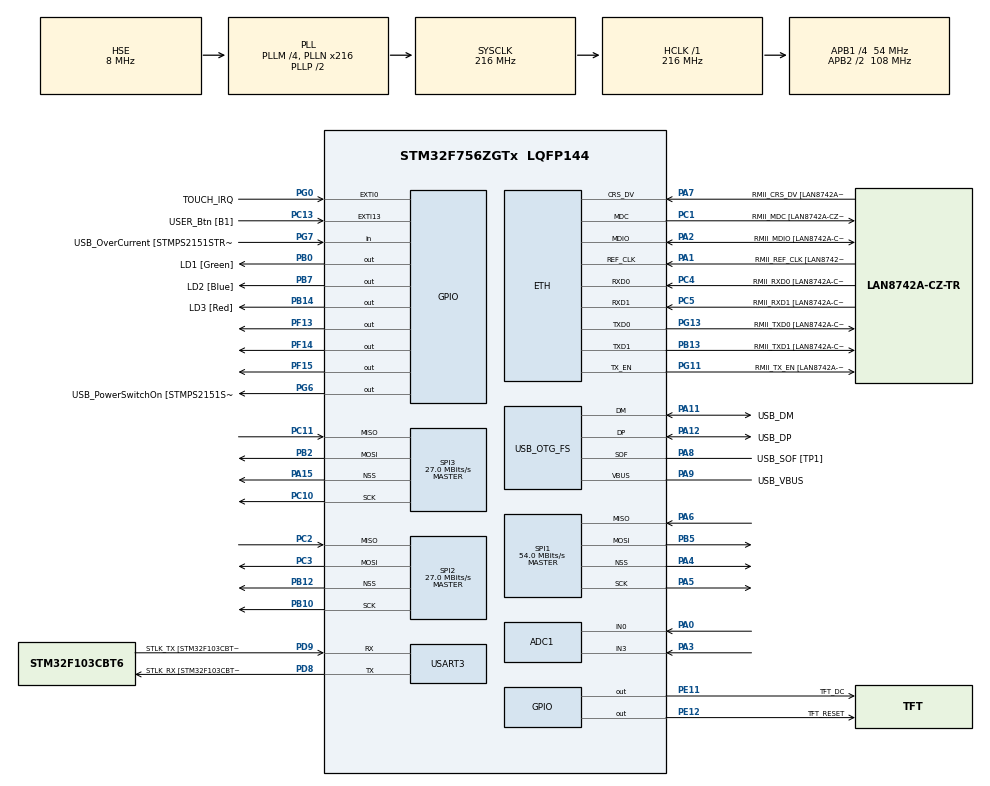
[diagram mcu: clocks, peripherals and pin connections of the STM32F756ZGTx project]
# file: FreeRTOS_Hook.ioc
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ADC1.Channel-0\#ChannelRegularConversion=ADC_CHANNEL_3
ADC1.NbrOfConversionFlag=1
ADC1.Rank-0\#ChannelRegularConversion=1
ADC1.SamplingTime-0\#ChannelRegularConversion=ADC_SAMPLETIME_3CYCLES
ADC1.master=1
ETH.MediaInterface=ETH_MEDIA_INTERFACE_RMII
ETH.PhyAddress=0
FREERTOS.Mutexes01=MutexPrint,Dynamic,NULL;MutexIdle,Dynamic,NULL
FREERTOS.Tasks01=Led1Task,24,256,StartLed1Task,Default,NULL,Dynamic,NULL,NULL;Led2Task,24,256,StartLed2Task,Default,NULL,Dynamic,NULL,NULL;Led3Task,24,256,StartLed3Task,Default,NULL,Dynamic,NULL,NULL
FREERTOS.Timers01=TimerIdleTime,TimerIdleTimeCallback,osTimerPeriodic,Default,NULL,Dynamic,NULL
FREERTOS.configMINIMAL_STACK_SIZE=256
FREERTOS.configUSE_IDLE_HOOK=1
FREERTOS.configUSE_NEWLIB_REENTRANT=1
LWIP.Version=v2.1.2_Cube
Mcu.Family=STM32F7
Mcu.Name=STM32F756ZGTx
Mcu.Package=LQFP144
NVIC.ETH_IRQn=true\:5\:0\:false\:false\:true\:true\:false\:true
NVIC.EXTI15_10_IRQn=true\:5\:0\:false\:false\:true\:true\:true\:true
NVIC.PriorityGroup=NVIC_PRIORITYGROUP_4
NVIC.TIM1_UP_TIM10_IRQn=true\:15\:0\:false\:false\:true\:false\:false\:true
NVIC.TimeBase=TIM1_UP_TIM10_IRQn
NVIC.TimeBaseIP=TIM10
PA0/WKUP.Signal=ADCx_IN0
PA1.GPIO_Label=RMII_REF_CLK [LAN8742A-CZ-TR_REFCLK0]
PA1.Mode=RMII
PA1.Signal=ETH_REF_CLK
PA10.GPIO_Label=USB_ID
PA10.Signal=USB_OTG_FS_ID
PA11.GPIO_Label=USB_DM
PA11.Mode=Device_Only
PA11.Signal=USB_OTG_FS_DM
PA12.GPIO_Label=USB_DP
PA12.Mode=Device_Only
PA12.Signal=USB_OTG_FS_DP
PA13.GPIO_Label=TMS
PA13.Mode=Serial_Wire
PA13.Signal=SYS_JTMS-SWDIO
PA14.GPIO_Label=TCK
PA14.Mode=Serial_Wire
PA14.Signal=SYS_JTCK-SWCLK
PA15.Mode=NSS_Signal_Hard_Output
PA15.Signal=SPI3_NSS
PA2.GPIO_Label=RMII_MDIO [LAN8742A-CZ-TR_MDIO]
PA2.Mode=RMII
PA2.Signal=ETH_MDIO
PA3.Signal=ADCx_IN3
PA4.Mode=NSS_Signal_Hard_Output
PA4.Signal=SPI1_NSS
PA5.Mode=Full_Duplex_Master
PA5.Signal=SPI1_SCK
PA6.Mode=Full_Duplex_Master
PA6.Signal=SPI1_MISO
PA7.GPIO_Label=RMII_CRS_DV [LAN8742A-CZ-TR_CRS_DV]
PA7.Mode=RMII
PA7.Signal=ETH_CRS_DV
PA8.GPIO_Label=USB_SOF [TP1]
PA8.Mode=Activate_SOF_FS
PA8.Signal=USB_OTG_FS_SOF
PA9.GPIO_Label=USB_VBUS
PA9.Mode=Activate_VBUS
PA9.Signal=USB_OTG_FS_VBUS
PB0.GPIO_Label=LD1 [Green]
PB0.Signal=GPIO_Output
PB10.Mode=Full_Duplex_Master
PB10.Signal=SPI2_SCK
PB12.Mode=NSS_Signal_Hard_Output
PB12.Signal=SPI2_NSS
PB13.GPIO_Label=RMII_TXD1 [LAN8742A-CZ-TR_TXD1]
PB13.Mode=RMII
PB13.Signal=ETH_TXD1
PB14.GPIO_Label=LD3 [Red]
PB14.Signal=GPIO_Output
PB2.Mode=Full_Duplex_Master
PB2.Signal=SPI3_MOSI
PB3.GPIO_Label=SWO
PB3.Signal=SYS_JTDO-SWO
PB5.Mode=Full_Duplex_Master
PB5.Signal=SPI1_MOSI
PB7.GPIO_Label=LD2 [Blue]
PB7.Signal=GPIO_Output
PC1.GPIO_Label=RMII_MDC [LAN8742A-CZ-TR_MDC]
PC1.Mode=RMII
PC1.Signal=ETH_MDC
PC10.Mode=Full_Duplex_Master
PC10.Signal=SPI3_SCK
PC11.Mode=Full_Duplex_Master
PC11.Signal=SPI3_MISO
PC13.GPIO_Label=USER_Btn [B1]
PC13.Signal=GPXTI13
PC14/OSC32_IN.Mode=LSE-External-Oscillator
PC14/OSC32_IN.Signal=RCC_OSC32_IN
PC15/OSC32_OUT.Mode=LSE-External-Oscillator
PC15/OSC32_OUT.Signal=RCC_OSC32_OUT
PC2.Mode=Full_Duplex_Master
PC2.Signal=SPI2_MISO
PC3.Mode=Full_Duplex_Master
PC3.Signal=SPI2_MOSI
PC4.GPIO_Label=RMII_RXD0 [LAN8742A-CZ-TR_RXD0]
PC4.Mode=RMII
PC4.Signal=ETH_RXD0
PC5.GPIO_Label=RMII_RXD1 [LAN8742A-CZ-TR_RXD1]
PC5.Mode=RMII
PC5.Signal=ETH_RXD1
PD8.GPIO_Label=STLK_RX [STM32F103CBT6_PA3]
PD8.Mode=Asynchronous
PD8.Signal=USART3_TX
PD9.GPIO_Label=STLK_TX [STM32F103CBT6_PA2]
PD9.Mode=Asynchronous
PD9.Signal=USART3_RX
PE11.GPIO_Label=TFT_DC
PE11.Signal=GPIO_Output
PE12.GPIO_Label=TFT_RESET
PE12.Signal=GPIO_Output
PF13.Signal=GPIO_Output
PF14.Signal=GPIO_Output
PF15.Signal=GPIO_Output
PG0.GPIO_Label=TOUCH_IRQ
PG0.Signal=GPXTI0
PG11.GPIO_Label=RMII_TX_EN [LAN8742A-CZ-TR_TXEN]
PG11.Mode=RMII
PG11.Signal=ETH_TX_EN
PG13.GPIO_Label=RMII_TXD0 [LAN8742A-CZ-TR_TXD0]
PG13.Mode=RMII
PG13.Signal=ETH_TXD0
PG6.GPIO_Label=USB_PowerSwitchOn [STMPS2151STR_EN]
PG6.Signal=GPIO_Output
PG7.GPIO_Label=USB_OverCurrent [STMPS2151STR_FAULT]
PG7.Signal=GPIO_Input
PH0/OSC_IN.GPIO_Label=MCO [STM32F103CBT6_PA8]
PH0/OSC_IN.Mode=HSE-External-Clock-Source
PH0/OSC_IN.Signal=RCC_OSC_IN
PH1/OSC_OUT.Mode=HSE-External-Clock-Source
PH1/OSC_OUT.Signal=RCC_OSC_OUT
ProjectManager.HeapSize=0x200
ProjectManager.StackSize=0x400
ProjectManager.TargetToolchain=STM32CubeIDE
RCC.AHBFreq_Value=216000000
RCC.APB1CLKDivider=RCC_HCLK_DIV4
RCC.APB1Freq_Value=54000000
RCC.APB1TimFreq_Value=108000000
RCC.APB2CLKDivider=RCC_HCLK_DIV2
RCC.APB2Freq_Value=108000000
RCC.APB2TimFreq_Value=216000000
RCC.CortexFreq_Value=216000000
RCC.HCLKFreq_Value=216000000
RCC.HSE_VALUE=8000000
RCC.HSI_VALUE=16000000
RCC.PLLM=4
RCC.PLLN=216
RCC.PLLQ=9
RCC.SYSCLKFreq_VALUE=216000000
RCC.SYSCLKSource=RCC_SYSCLKSOURCE_PLLCLK
RCC.USBFreq_Value=48000000
RCC.VCOOutputFreq_Value=432000000
SH.ADCx_IN0.0=ADC1_IN0,IN0
SH.ADCx_IN3.0=ADC1_IN3,IN3
SPI1.CalculateBaudRate=54.0 MBits/s
SPI1.Direction=SPI_DIRECTION_2LINES
SPI1.Mode=SPI_MODE_MASTER
SPI1.VirtualNSS=VM_NSSHARD
SPI1.VirtualType=VM_MASTER
SPI2.CalculateBaudRate=27.0 MBits/s
SPI2.Direction=SPI_DIRECTION_2LINES
SPI2.Mode=SPI_MODE_MASTER
SPI2.VirtualNSS=VM_NSSHARD
SPI2.VirtualType=VM_MASTER
SPI3.CalculateBaudRate=27.0 MBits/s
SPI3.Direction=SPI_DIRECTION_2LINES
SPI3.Mode=SPI_MODE_MASTER
SPI3.VirtualNSS=VM_NSSHARD
SPI3.VirtualType=VM_MASTER
USART3.VirtualMode-Asynchronous=VM_ASYNC
USB_OTG_FS.VirtualMode=Device_Only
VP_FREERTOS_VS_CMSIS_V2.Mode=CMSIS_V2
VP_LWIP_VS_Enabled.Mode=Enabled
VP_SYS_VS_tim10.Mode=TIM10
board=custom

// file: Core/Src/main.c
/* USER CODE BEGIN Header */
/**
  ******************************************************************************
  * @file           : main.c
  * @brief          : Main program body
  ******************************************************************************
  * @attention
  *
  * <h2><center>&copy; Copyright (c) 2021 STMicroelectronics.
  * All rights reserved.</center></h2>
  *
  * This software component is licensed by ST under BSD 3-Clause license,
  * the "License"; You may not use this file except in compliance with the
  * License. You may obtain a copy of the License at:
  *                        opensource.org/licenses/BSD-3-Clause
  *
  ******************************************************************************
  */
/* USER CODE END Header */
#include "main.h"
#include "cmsis_os.h"
#include "adc.h"
#include "lwip.h"
#include "spi.h"
#include "usart.h"
#include "usb_otg.h"
#include "gpio.h"

/* USER CODE BEGIN Includes */
#include "tcp_echo.h"
/* USER CODE END Includes */

void SystemClock_Config(void);
void MX_FREERTOS_Init(void);

int main(void)
{

  /* MCU Configuration--------------------------------------------------------*/

  /* Reset of all peripherals, Initializes the Flash interface and the Systick. */
  HAL_Init();

  /* Configure the system clock */
  SystemClock_Config();

  /* Initialize all configured peripherals */
  MX_GPIO_Init();
  MX_USB_OTG_FS_PCD_Init();
  MX_USART3_UART_Init();
  MX_ADC1_Init();
  MX_SPI1_Init();
  MX_SPI2_Init();
  MX_SPI3_Init();

  /* Init scheduler */
  osKernelInitialize();  /* Call init function for freertos objects (in freertos.c) */
  MX_FREERTOS_Init();
  /* Start scheduler */
  osKernelStart();

  /* We should never get here as control is now taken by the scheduler */
  /* Infinite loop */
  while (1)
  {

  }
}

void SystemClock_Config(void)
{
  RCC_OscInitTypeDef RCC_OscInitStruct = {0};
  RCC_ClkInitTypeDef RCC_ClkInitStruct = {0};

  /** Configure LSE Drive Capability
  */
  HAL_PWR_EnableBkUpAccess();
  /** Configure the main internal regulator output voltage
  */
  __HAL_RCC_PWR_CLK_ENABLE();
  __HAL_PWR_VOLTAGESCALING_CONFIG(PWR_REGULATOR_VOLTAGE_SCALE1);
  /** Initializes the RCC Oscillators according to the specified parameters
  * in the RCC_OscInitTypeDef structure.
  */
  RCC_OscInitStruct.OscillatorType = RCC_OSCILLATORTYPE_HSE;
  RCC_OscInitStruct.HSEState = RCC_HSE_BYPASS;
  RCC_OscInitStruct.PLL.PLLState = RCC_PLL_ON;
  RCC_OscInitStruct.PLL.PLLSource = RCC_PLLSOURCE_HSE;
  RCC_OscInitStruct.PLL.PLLM = 4;
  RCC_OscInitStruct.PLL.PLLN = 216;
  RCC_OscInitStruct.PLL.PLLP = RCC_PLLP_DIV2;
  RCC_OscInitStruct.PLL.PLLQ = 9;
  if (HAL_RCC_OscConfig(&RCC_OscInitStruct) != HAL_OK)
  {
    Error_Handler();
  }
  /** Activate the Over-Drive mode
  */
  if (HAL_PWREx_EnableOverDrive() != HAL_OK)
  {
    Error_Handler();
  }
  /** Initializes the CPU, AHB and APB buses clocks
  */
  RCC_ClkInitStruct.ClockType = RCC_CLOCKTYPE_HCLK|RCC_CLOCKTYPE_SYSCLK
                              |RCC_CLOCKTYPE_PCLK1|RCC_CLOCKTYPE_PCLK2;
  RCC_ClkInitStruct.SYSCLKSource = RCC_SYSCLKSOURCE_PLLCLK;
  RCC_ClkInitStruct.AHBCLKDivider = RCC_SYSCLK_DIV1;
  RCC_ClkInitStruct.APB1CLKDivider = RCC_HCLK_DIV4;
  RCC_ClkInitStruct.APB2CLKDivider = RCC_HCLK_DIV2;

  if (HAL_RCC_ClockConfig(&RCC_ClkInitStruct, FLASH_LATENCY_7) != HAL_OK)
  {
    Error_Handler();
  }
}

void HAL_TIM_PeriodElapsedCallback(TIM_HandleTypeDef *htim)
{
  if (htim->Instance == TIM10) {
    HAL_IncTick();
  }
}

void Error_Handler(void)
{
  __disable_irq();
  while (1)
  {
  }
}

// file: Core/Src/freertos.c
/* USER CODE BEGIN Header */
/**
 ******************************************************************************
 * File Name          : freertos.c
 * Description        : Code for freertos applications
 ******************************************************************************
 * @attention
 *
 * Copyright (c) 2022 STMicroelectronics.
 * All rights reserved.
 *
 * This software is licensed under terms that can be found in the LICENSE file
 * in the root directory of this software component.
 * If no LICENSE file comes with this software, it is provided AS-IS.
 *
 ******************************************************************************
 */
/* USER CODE END Header */

#include "FreeRTOS.h"
#include "task.h"
#include "main.h"
#include "cmsis_os.h"

/* USER CODE BEGIN Includes */
#include "printf.h"
#include "usart.h"
/* USER CODE END Includes */

/* USER CODE BEGIN Variables */
uint32_t IdleTicks;
/* USER CODE END Variables */
/* Definitions for Led1Task */
osThreadId_t Led1TaskHandle;
const osThreadAttr_t Led1Task_attributes = {
  .name = "Led1Task",
  .stack_size = 256 * 4,
  .priority = (osPriority_t) osPriorityNormal,
};
/* Definitions for Led2Task */
osThreadId_t Led2TaskHandle;
const osThreadAttr_t Led2Task_attributes = {
  .name = "Led2Task",
  .stack_size = 256 * 4,
  .priority = (osPriority_t) osPriorityNormal,
};
/* Definitions for Led3Task */
osThreadId_t Led3TaskHandle;
const osThreadAttr_t Led3Task_attributes = {
  .name = "Led3Task",
  .stack_size = 256 * 4,
  .priority = (osPriority_t) osPriorityNormal,
};
/* Definitions for TimerIdleTime */
osTimerId_t TimerIdleTimeHandle;
const osTimerAttr_t TimerIdleTime_attributes = {
  .name = "TimerIdleTime"
};
/* Definitions for MutexPrint */
osMutexId_t MutexPrintHandle;
const osMutexAttr_t MutexPrint_attributes = {
  .name = "MutexPrint"
};
/* Definitions for MutexIdle */
osMutexId_t MutexIdleHandle;
const osMutexAttr_t MutexIdle_attributes = {
  .name = "MutexIdle"
};

void StartLed1Task(void *argument);
void StartLed2Task(void *argument);
void StartLed3Task(void *argument);
void TimerIdleTimeCallback(void *argument);

extern void MX_LWIP_Init(void);
void MX_FREERTOS_Init(void); /* (MISRA C 2004 rule 8.1) */

/* Hook prototypes */
void vApplicationIdleHook(void);

/* USER CODE BEGIN 2 */
void vApplicationIdleHook(void) {
	/* vApplicationIdleHook() will only be called if configUSE_IDLE_HOOK is set
	 to 1 in FreeRTOSConfig.h. It will be called on each iteration of the idle
	 task. It is essential that code added to this hook function never attempts
	 to block in any way (for example, call xQueueReceive() with a block time
	 specified, or call vTaskDelay()). If the application makes use of the
	 vTaskDelete() API function (as this demo application does) then it is also
	 important that vApplicationIdleHook() is permitted to return to its calling
	 function, because it is the responsibility of the idle task to clean up
	 memory allocated by the kernel to any task that has since been deleted. */

	static uint32_t LastTick;

	if (LastTick < osKernelGetTickCount()) {
		osMutexAcquire(MutexIdleHandle, osWaitForever);
		IdleTicks++;
		osMutexRelease(MutexIdleHandle);
		LastTick = osKernelGetTickCount();
	}
}

/* USER CODE END 2 */

void MX_FREERTOS_Init(void) {
  /* Create the mutex(es) */
  /* creation of MutexPrint */
  MutexPrintHandle = osMutexNew(&MutexPrint_attributes);

  /* creation of MutexIdle */
  MutexIdleHandle = osMutexNew(&MutexIdle_attributes);

  /* Create the timer(s) */
  /* creation of TimerIdleTime */
  TimerIdleTimeHandle = osTimerNew(TimerIdleTimeCallback, osTimerPeriodic, NULL, &TimerIdleTime_attributes);

  /* Create the thread(s) */
  /* creation of Led1Task */
  Led1TaskHandle = osThreadNew(StartLed1Task, NULL, &Led1Task_attributes);

  /* creation of Led2Task */
  Led2TaskHandle = osThreadNew(StartLed2Task, NULL, &Led2Task_attributes);

  /* creation of Led3Task */
  Led3TaskHandle = osThreadNew(StartLed3Task, NULL, &Led3Task_attributes);

}

void StartLed1Task(void *argument)
{
  /* init code for LWIP */
//  MX_LWIP_Init();
  /* USER CODE BEGIN StartLed1Task */
	osTimerStart(TimerIdleTimeHandle, 1000);
	/* Infinite loop */
	for (;;) {
		printf("LED1 Enter\n\r");
		HAL_GPIO_TogglePin(LD1_GPIO_Port, LD1_Pin);
		printf("LED1 Exit\n\r");
		osDelay(500);
	}
  /* USER CODE END StartLed1Task */
}

void StartLed2Task(void *argument)
{
  /* USER CODE BEGIN StartLed2Task */

	/* Infinite loop */
	for (;;) {
		printf("LED2 Enter\n\r");
		HAL_GPIO_TogglePin(LD2_GPIO_Port, LD2_Pin);
		printf("LED2 Exit\n\r");
		osDelay(300);
	}
  /* USER CODE END StartLed2Task */
}

void StartLed3Task(void *argument)
{
  /* USER CODE BEGIN StartLed3Task */

	/* Infinite loop */
	for (;;) {
		printf("LED3 Enter\n\r");
		HAL_GPIO_TogglePin(LD3_GPIO_Port, LD3_Pin);
		printf("LED3 Exit\n\r");
		osDelay(1000);
	}
  /* USER CODE END StartLed3Task */
}

/* TimerIdleTimeCallback function */
void TimerIdleTimeCallback(void *argument)
{
  /* USER CODE BEGIN TimerIdleTimeCallback */
	uint32_t IdleTime;
	osMutexAcquire(MutexIdleHandle, osWaitForever);
	IdleTime = (IdleTicks * 100) / 1000;
	osMutexRelease(MutexIdleHandle);

	IdleTicks = 0;

	printf("Idle Time: %d%%\n\r", IdleTime);
  /* USER CODE END TimerIdleTimeCallback */
}

/* USER CODE BEGIN Application */
void _putchar(char character) {
	// send char to console etc.
	osMutexAcquire(MutexPrintHandle, osWaitForever);
	HAL_UART_Transmit(&huart3, (uint8_t*) &character, 1, 1000);
	osMutexRelease(MutexPrintHandle);
}
/* USER CODE END Application */
